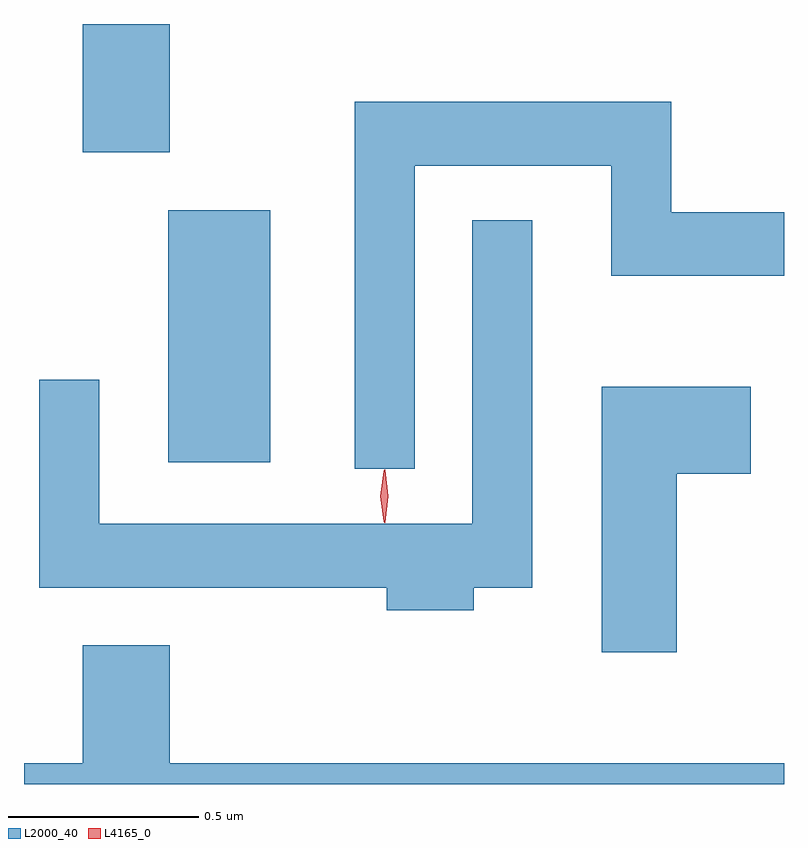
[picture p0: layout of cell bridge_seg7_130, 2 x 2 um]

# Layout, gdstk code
import gdstk
lib = gdstk.Library(unit=1e-6, precision=1e-09)
def R(c, l, rs):  # rectangles x0, y0, x1, y1
    for r in rs: c.add(gdstk.rectangle(r[:2], r[2:], *l))
def P(c, l, *ps):  # polygons
    for p in ps: c.add(gdstk.Polygon(p, *l))
L2000_40 = (2000, 40)
L4165_0 = (4165, 0)

bridge_seg7_130 = lib.new_cell('bridge_seg7_130')
R(bridge_seg7_130, L2000_40, [(1564.286,1793.076,1564.554,1793.739), (1564.061,1793.891,1564.289,1794.229)])
P(bridge_seg7_130, L2000_40, [(1564.934,1793.856),(1565.451,1793.856),(1565.451,1793.566),(1565.906,1793.566),(1565.906,1793.734),(1565.609,1793.734),(1565.609,1794.024),(1564.776,1794.024),(1564.776,1793.058),(1564.934,1793.058)],
  [(1565.089,1792.746),(1565.244,1792.746),(1565.244,1793.713),(1565.086,1793.713),(1565.086,1792.914),(1564.104,1792.914),(1564.104,1793.293),(1563.946,1793.293),(1563.946,1792.746),(1564.861,1792.746),(1564.861,1792.686),(1565.089,1792.686)],
  [(1565.624,1793.046),(1565.819,1793.046),(1565.819,1793.274),(1565.426,1793.274),(1565.426,1792.576),(1565.624,1792.576)],
  [(1565.906,1792.284),(1564.289,1792.284),(1564.289,1792.594),(1564.061,1792.594),(1564.061,1792.284),(1563.906,1792.284),(1563.906,1792.229),(1565.906,1792.229)])
P(bridge_seg7_130, L4165_0, [(1564.854,1792.917),(1564.845,1792.986),(1564.854,1793.056),(1564.855,1793.056),(1564.856,1793.056),(1564.865,1792.986),(1564.856,1792.917),(1564.855,1792.917)],
  [(1564.853,1792.919),(1564.853,1792.92),(1564.843,1792.986),(1564.853,1793.052),(1564.853,1793.053),(1564.854,1793.052),(1564.863,1792.986),(1564.854,1792.92)])

lib.write_gds('bridge_seg7_130.gds')
